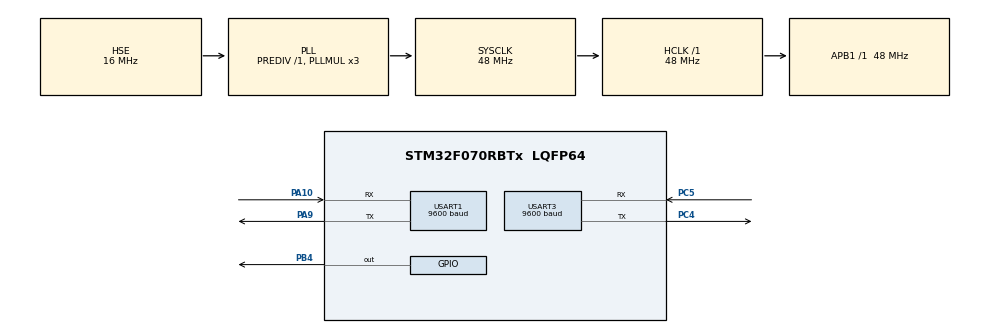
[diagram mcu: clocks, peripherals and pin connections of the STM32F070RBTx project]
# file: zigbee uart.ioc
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Mcu.Family=STM32F0
Mcu.Name=STM32F070RBTx
Mcu.Package=LQFP64
NVIC.USART1_IRQn=true\:0\:0\:false\:false\:true
NVIC.USART3_4_IRQn=true\:0\:0\:false\:false\:true
PA10.Mode=Asynchronous
PA10.Signal=USART1_RX
PA9.Mode=Asynchronous
PA9.Signal=USART1_TX
PB4.Signal=GPIO_Output
PC4.Mode=Asynchronous
PC4.Signal=USART3_TX
PC5.Mode=Asynchronous
PC5.Signal=USART3_RX
PF0-OSC_IN.Mode=HSE-External-Oscillator
PF0-OSC_IN.Signal=RCC_OSC_IN
PF1-OSC_OUT.Mode=HSE-External-Oscillator
PF1-OSC_OUT.Signal=RCC_OSC_OUT
ProjectManager.HeapSize=0x200
ProjectManager.StackSize=0x400
ProjectManager.TargetToolchain=MDK-ARM V5
RCC.AHBFreq_Value=48000000
RCC.APB1Freq_Value=48000000
RCC.APB1TimFreq_Value=48000000
RCC.HCLKFreq_Value=48000000
RCC.HSE_VALUE=16000000
RCC.PLLMUL=RCC_PLL_MUL3
RCC.PLLSourceVirtual=RCC_PLLSOURCE_HSE
RCC.SYSCLKFreq_VALUE=48000000
RCC.SYSCLKSource=RCC_SYSCLKSOURCE_PLLCLK
USART1.BaudRate=9600
USART1.VirtualMode-Asynchronous=VM_ASYNC
USART1.WordLength=WORDLENGTH_8B
USART3.BaudRate=9600
USART3.VirtualMode-Asynchronous=VM_ASYNC
USART3.WordLength=WORDLENGTH_8B
board=zigbee uart

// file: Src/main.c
/**
  ******************************************************************************
  * File Name          : main.c
  * Description        : Main program body
  ******************************************************************************
  ** This notice applies to any and all portions of this file
  * that are not between comment pairs USER CODE BEGIN and
  * USER CODE END. Other portions of this file, whether
  * inserted by the user or by software development tools
  * are owned by their respective copyright owners.
  *
  * COPYRIGHT(c) 2017 STMicroelectronics
  *
  * Redistribution and use in source and binary forms, with or without modification,
  * are permitted provided that the following conditions are met:
  *   1. Redistributions of source code must retain the above copyright notice,
  *      this list of conditions and the following disclaimer.
  *   2. Redistributions in binary form must reproduce the above copyright notice,
  *      this list of conditions and the following disclaimer in the documentation
  *      and/or other materials provided with the distribution.
  *   3. Neither the name of STMicroelectronics nor the names of its contributors
  *      may be used to endorse or promote products derived from this software
  *      without specific prior written permission.
  *
  * THIS SOFTWARE IS PROVIDED BY THE COPYRIGHT HOLDERS AND CONTRIBUTORS "AS IS"
  * AND ANY EXPRESS OR IMPLIED WARRANTIES, INCLUDING, BUT NOT LIMITED TO, THE
  * IMPLIED WARRANTIES OF MERCHANTABILITY AND FITNESS FOR A PARTICULAR PURPOSE ARE
  * DISCLAIMED. IN NO EVENT SHALL THE COPYRIGHT HOLDER OR CONTRIBUTORS BE LIABLE
  * FOR ANY DIRECT, INDIRECT, INCIDENTAL, SPECIAL, EXEMPLARY, OR CONSEQUENTIAL
  * DAMAGES (INCLUDING, BUT NOT LIMITED TO, PROCUREMENT OF SUBSTITUTE GOODS OR
  * SERVICES; LOSS OF USE, DATA, OR PROFITS; OR BUSINESS INTERRUPTION) HOWEVER
  * CAUSED AND ON ANY THEORY OF LIABILITY, WHETHER IN CONTRACT, STRICT LIABILITY,
  * OR TORT (INCLUDING NEGLIGENCE OR OTHERWISE) ARISING IN ANY WAY OUT OF THE USE
  * OF THIS SOFTWARE, EVEN IF ADVISED OF THE POSSIBILITY OF SUCH DAMAGE.
  *
  ******************************************************************************
  */
#include "main.h"
#include "stm32f0xx_hal.h"

UART_HandleTypeDef huart1;
UART_HandleTypeDef huart3;

/* USER CODE BEGIN PV */
/* Private variables ---------------------------------------------------------*/
unsigned char ch,ch1;
int flg,u;
/* USER CODE END PV */

void SystemClock_Config(void);
static void MX_GPIO_Init(void);
static void MX_USART1_UART_Init(void);
static void MX_USART3_UART_Init(void);

/* USER CODE BEGIN PFP */
/* Private function prototypes -----------------------------------------------*/

/* USER CODE END PFP */

/* USER CODE BEGIN 0 */
void HAL_UART_RxCpltCallback(UART_HandleTypeDef *huart)
{
  /* Prevent unused argument(s) compilation warning */
  UNUSED(huart);
if(huart->Instance==USART1)
{
HAL_UART_Receive_IT(&huart1,&ch,1);
HAL_UART_Transmit(&huart1,&ch,1,10);
HAL_UART_Transmit(&huart3,&ch,1,10);
}
if(huart->Instance==USART3)
{
HAL_UART_Receive_IT(&huart3,&ch,1);
HAL_UART_Transmit(&huart1,&ch,1,10);
flg=1;
}
  /* NOTE : This function should not be modified, when the callback is needed,
            the HAL_UART_RxCpltCallback can be implemented in the user file.
   */
}

/* USER CODE END 0 */

int main(void)
{

  /* MCU Configuration----------------------------------------------------------*/

  /* Reset of all peripherals, Initializes the Flash interface and the Systick. */
  HAL_Init();

  /* Configure the system clock */
  SystemClock_Config();

  /* Initialize all configured peripherals */
  MX_GPIO_Init();
  MX_USART1_UART_Init();
  MX_USART3_UART_Init();

  /* Infinite loop */
  while (1)
  {

  /* USER CODE BEGIN 3 */
HAL_UART_Receive_IT(&huart1,&ch,1);
HAL_UART_Receive_IT(&huart3,&ch,1);
if(flg==1)
{
if(ch=='1')
{
HAL_GPIO_WritePin(GPIOB,GPIO_PIN_4,1);
}
if(ch=='0')
{
HAL_GPIO_WritePin(GPIOB,GPIO_PIN_4,0);
}
}
  }
  /* USER CODE END 3 */

}

/** System Clock Configuration
*/
void SystemClock_Config(void)
{

  RCC_OscInitTypeDef RCC_OscInitStruct;
  RCC_ClkInitTypeDef RCC_ClkInitStruct;
  RCC_PeriphCLKInitTypeDef PeriphClkInit;

    /**Initializes the CPU, AHB and APB busses clocks
    */
  RCC_OscInitStruct.OscillatorType = RCC_OSCILLATORTYPE_HSE;
  RCC_OscInitStruct.HSEState = RCC_HSE_ON;
  RCC_OscInitStruct.HSIState = RCC_HSI_ON;
  RCC_OscInitStruct.PLL.PLLState = RCC_PLL_ON;
  RCC_OscInitStruct.PLL.PLLSource = RCC_PLLSOURCE_HSE;
  RCC_OscInitStruct.PLL.PLLMUL = RCC_PLL_MUL3;
  RCC_OscInitStruct.PLL.PREDIV = RCC_PREDIV_DIV1;
  if (HAL_RCC_OscConfig(&RCC_OscInitStruct) != HAL_OK)
  {
    _Error_Handler(__FILE__, __LINE__);
  }

    /**Initializes the CPU, AHB and APB busses clocks
    */
  RCC_ClkInitStruct.ClockType = RCC_CLOCKTYPE_HCLK|RCC_CLOCKTYPE_SYSCLK
                              |RCC_CLOCKTYPE_PCLK1;
  RCC_ClkInitStruct.SYSCLKSource = RCC_SYSCLKSOURCE_PLLCLK;
  RCC_ClkInitStruct.AHBCLKDivider = RCC_SYSCLK_DIV1;
  RCC_ClkInitStruct.APB1CLKDivider = RCC_HCLK_DIV1;

  if (HAL_RCC_ClockConfig(&RCC_ClkInitStruct, FLASH_LATENCY_1) != HAL_OK)
  {
    _Error_Handler(__FILE__, __LINE__);
  }

  PeriphClkInit.PeriphClockSelection = RCC_PERIPHCLK_USART1;
  PeriphClkInit.Usart1ClockSelection = RCC_USART1CLKSOURCE_PCLK1;
  if (HAL_RCCEx_PeriphCLKConfig(&PeriphClkInit) != HAL_OK)
  {
    _Error_Handler(__FILE__, __LINE__);
  }

    /**Configure the Systick interrupt time
    */
  HAL_SYSTICK_Config(HAL_RCC_GetHCLKFreq()/1000);

    /**Configure the Systick
    */
  HAL_SYSTICK_CLKSourceConfig(SYSTICK_CLKSOURCE_HCLK);

  /* SysTick_IRQn interrupt configuration */
  HAL_NVIC_SetPriority(SysTick_IRQn, 0, 0);
}

/* USART1 init function */
static void MX_USART1_UART_Init(void)
{

  huart1.Instance = USART1;
  huart1.Init.BaudRate = 9600;
  huart1.Init.WordLength = UART_WORDLENGTH_8B;
  huart1.Init.StopBits = UART_STOPBITS_1;
  huart1.Init.Parity = UART_PARITY_NONE;
  huart1.Init.Mode = UART_MODE_TX_RX;
  huart1.Init.HwFlowCtl = UART_HWCONTROL_NONE;
  huart1.Init.OverSampling = UART_OVERSAMPLING_16;
  huart1.Init.OneBitSampling = UART_ONE_BIT_SAMPLE_DISABLE;
  huart1.AdvancedInit.AdvFeatureInit = UART_ADVFEATURE_NO_INIT;
  if (HAL_UART_Init(&huart1) != HAL_OK)
  {
    _Error_Handler(__FILE__, __LINE__);
  }

}

/* USART3 init function */
static void MX_USART3_UART_Init(void)
{

  huart3.Instance = USART3;
  huart3.Init.BaudRate = 9600;
  huart3.Init.WordLength = UART_WORDLENGTH_8B;
  huart3.Init.StopBits = UART_STOPBITS_1;
  huart3.Init.Parity = UART_PARITY_NONE;
  huart3.Init.Mode = UART_MODE_TX_RX;
  huart3.Init.HwFlowCtl = UART_HWCONTROL_NONE;
  huart3.Init.OverSampling = UART_OVERSAMPLING_16;
  huart3.Init.OneBitSampling = UART_ONE_BIT_SAMPLE_DISABLE;
  huart3.AdvancedInit.AdvFeatureInit = UART_ADVFEATURE_NO_INIT;
  if (HAL_UART_Init(&huart3) != HAL_OK)
  {
    _Error_Handler(__FILE__, __LINE__);
  }

}

/** Configure pins as
        * Analog
        * Input
        * Output
        * EVENT_OUT
        * EXTI
*/
static void MX_GPIO_Init(void)
{

  GPIO_InitTypeDef GPIO_InitStruct;

  /* GPIO Ports Clock Enable */
  __HAL_RCC_GPIOF_CLK_ENABLE();
  __HAL_RCC_GPIOC_CLK_ENABLE();
  __HAL_RCC_GPIOA_CLK_ENABLE();
  __HAL_RCC_GPIOB_CLK_ENABLE();

  /*Configure GPIO pin Output Level */
  HAL_GPIO_WritePin(GPIOB, GPIO_PIN_4, GPIO_PIN_RESET);

  /*Configure GPIO pin : PB4 */
  GPIO_InitStruct.Pin = GPIO_PIN_4;
  GPIO_InitStruct.Mode = GPIO_MODE_OUTPUT_PP;
  GPIO_InitStruct.Pull = GPIO_NOPULL;
  GPIO_InitStruct.Speed = GPIO_SPEED_FREQ_LOW;
  HAL_GPIO_Init(GPIOB, &GPIO_InitStruct);

}

void _Error_Handler(char * file, int line)
{
  while(1)
  {
  }
}

/************************ (C) COPYRIGHT STMicroelectronics *****END OF FILE****/
